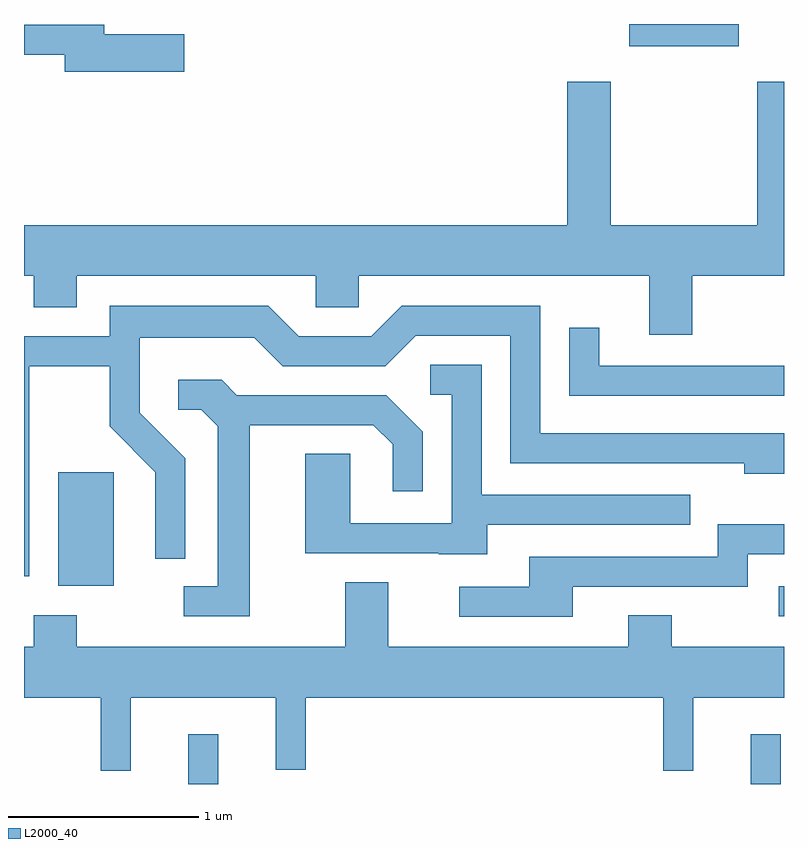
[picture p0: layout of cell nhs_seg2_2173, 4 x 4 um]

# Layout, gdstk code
import gdstk
lib = gdstk.Library(unit=1e-6, precision=1e-09)
def R(c, l, rs):  # rectangles x0, y0, x1, y1
    for r in rs: c.add(gdstk.rectangle(r[:2], r[2:], *l))
def P(c, l, *ps):  # polygons
    for p in ps: c.add(gdstk.Polygon(p, *l))
L2000_40 = (2000, 40)

nhs_seg2_2173 = lib.new_cell('nhs_seg2_2173')
R(nhs_seg2_2173, L2000_40, [(248.476,1107.802,248.634,1108.063), (251.436,1107.802,251.594,1108.063), (251.583,1108.686,251.611,1108.844), (247.791,1108.846,248.084,1109.444), (250.796,1111.686,251.374,1111.802)])
P(nhs_seg2_2173, L2000_40, [(248.454,1111.749),(248.034,1111.749),(248.034,1111.799),(247.611,1111.799),(247.611,1111.641),(247.826,1111.641),(247.826,1111.551),(248.454,1111.551)],
  [(251.129,1110.476),(251.611,1110.476),(251.611,1111.499),(251.471,1111.499),(251.471,1110.744),(250.699,1110.744),(250.699,1111.499),(250.471,1111.499),(250.471,1110.744),(247.611,1110.744),(247.611,1110.476),(247.661,1110.476),(247.661,1110.311),(247.889,1110.311),(247.889,1110.476),(249.146,1110.476),(249.146,1110.311),(249.374,1110.311),(249.374,1110.476),(250.901,1110.476),(250.901,1110.166),(251.129,1110.166)],
  [(247.639,1110.001),(248.061,1110.001),(248.061,1109.684),(248.301,1109.444),(248.301,1108.988),(248.459,1108.988),(248.459,1109.517),(248.219,1109.757),(248.219,1110.151),(248.824,1110.151),(248.974,1110.001),(249.512,1110.001),(249.672,1110.161),(250.171,1110.161),(250.171,1109.491),(251.401,1109.491),(251.401,1109.436),(251.611,1109.436),(251.611,1109.649),(250.329,1109.649),(250.329,1110.319),(249.599,1110.319),(249.439,1110.159),(249.057,1110.159),(248.897,1110.319),(248.061,1110.319),(248.061,1110.159),(247.611,1110.159),(247.611,1108.896),(247.639,1108.896)],
  [(251.611,1110.004),(250.639,1110.004),(250.639,1110.203),(250.481,1110.203),(250.481,1109.846),(251.611,1109.846)],
  [(250.049,1109.166),(251.118,1109.166),(251.118,1109.324),(250.019,1109.324),(250.019,1110.009),(249.748,1110.009),(249.748,1109.851),(249.861,1109.851),(249.861,1109.174),(249.329,1109.174),(249.329,1109.539),(249.091,1109.539),(249.091,1109.016),(249.795,1109.016),(249.795,1109.011),(250.049,1109.011)],
  [(248.799,1109.691),(249.449,1109.691),(249.551,1109.589),(249.551,1109.343),(249.709,1109.343),(249.709,1109.657),(249.517,1109.849),(248.732,1109.849),(248.652,1109.929),(248.423,1109.929),(248.423,1109.771),(248.544,1109.771),(248.631,1109.684),(248.631,1108.844),(248.453,1108.844),(248.453,1108.686),(248.799,1108.686)],
  [(250.499,1108.841),(251.419,1108.841),(251.419,1109.011),(251.611,1109.011),(251.611,1109.169),(251.261,1109.169),(251.261,1108.999),(250.271,1108.999),(250.271,1108.839),(249.903,1108.839),(249.903,1108.681),(250.499,1108.681)],
  [(248.174,1108.256),(248.936,1108.256),(248.936,1107.878),(249.094,1107.878),(249.094,1108.256),(250.976,1108.256),(250.976,1107.873),(251.134,1107.873),(251.134,1108.256),(251.611,1108.256),(251.611,1108.524),(251.019,1108.524),(251.019,1108.689),(250.791,1108.689),(250.791,1108.524),(249.529,1108.524),(249.529,1108.864),(249.301,1108.864),(249.301,1108.524),(247.889,1108.524),(247.889,1108.689),(247.661,1108.689),(247.661,1108.524),(247.611,1108.524),(247.611,1108.256),(248.016,1108.256),(248.016,1107.873),(248.174,1107.873)])

lib.write_gds('nhs_seg2_2173.gds')
